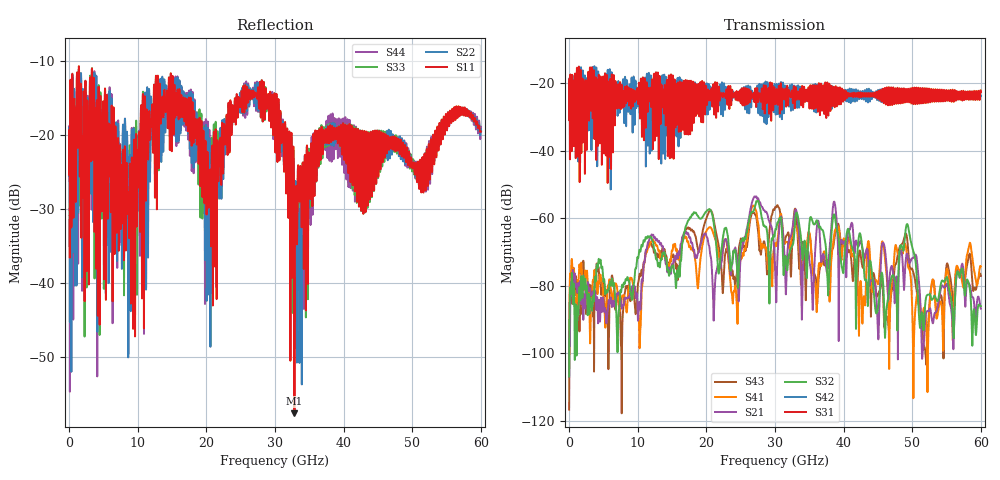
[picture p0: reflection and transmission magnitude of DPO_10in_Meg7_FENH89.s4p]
! Tyco Electronics Strada Whisper System
! FEXT_H89_G1112
!! SYSTEM DESCRIPTION: Daughtercard-Footprint-Connector-Footprint-Daughtercard
!! PCB DESCRIPTION: DC: 140mil, Megtron7N, upper layer route, 15mil stub, 6-6-6mil 10" traces
!! CONNECTOR DESCRIPTION: Next-Gen STRADA Whisper Direct-Plug Orthogonal Connector
!! MODEL DESCRIPTION: Tyco Electronics System 4-port S-parameter
!! MODEL STATUS: Developmental
!! MODEL GEOMETRY: Channel Model
!! MODEL FREQUENCY RANGE: DC to 60 GHz in 10 MHz frequency steps
!! MODEL EDGE RATE LIMITATION: 8.3 ps (Using conservative 0.5/Fmax rule of thumb)
!! TIME-DOMAIN TRANSFORM CAUTIONS:
!! 1.) Do not simulate transient edge rates faster than the number listed above.  Edge rates faster than this number
!!  contain significant spectral content at frequencies above the model's highest frequency.
!! 2.) Even when simulating edge rates that are slower than the number listed above, be aware that the best time
!!  resolution possible with a direct iFFT is (1 / 2Fmax).  As a result, time resolution is typically not adequate
!!  for most time-domain simulations unless tricks such as windowing are used to minimize leakage and aliasing.
!! 3.) Because the model has a uniform frequency step, a direct iFFT will result in an impulse that that has a time
!!  length given by either (1 / Fstep) or (1 / 2Fstep), depending on the transform being used.  Care has been taken
!!  in selecting the frequency step to ensure a settled impulse response for the model.  Therefore, convolution with
!!  the model's impulse response should present no issues.  However, if directly concatenating s-parameter models
!!  in the frequency domain a user must either interpolate necessary interim frequencies or complete impulse response
!!  zero-padding.  Impulse response zero-padding is more difficult, but more accurate.
!! PORT DEFINITIONS:
!! Port  1  ----->  TX Side	H8  G11  RX Side  <-----  Port  3
!! Port  2  ----->  TX Side	H9  G12  RX Side  <-----  Port  4
!!!!!!!!!!!!!!!!!!!!!!!!!!!!!!!!!!!!!!!!!!!!!!!!!!!!!!!!!!!!!!!!!!!!!!!!!!!!!!!!!!!!!!!!!!!!!!!!!!!!!!!!!!!!!!!!!!!!!!!!! Touchstone data
! Created: 10-Dec-2018 by IdEM R2012 (8.0.5)
# Hz S MA R 50
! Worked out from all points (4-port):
!   6000 points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, 10 MHz to 60 GHz, reference 50 ohm
!   strongest paths, dB at 10 MHz, 15.01 GHz, 30.01 GHz, 45.01 GHz, 60 GHz:
!     S31: -30.8, -24.1, -24.8, -23.5, -22.6
!     S42: -30.9, -23.0, -20.9, -22.0, -23.6
!     S32: -106.8, -74.3, -63.8, -86.7, -86.0
!     S21: -106.8, -73.7, -74.6, -94.3, -86.7
!     S41: -102.1, -69.6, -67.4, -79.5, -74.3
!     S43: -116.7, -71.3, -56.8, -82.6, -77.0
!   lowest |S11| = -57.5 dB at 32.84 GHz (marker M1), VSWR 1.00, Z = 50 - j0.133 ohm
!   |S11| at or under -10 dB: start of sweep to end of sweep
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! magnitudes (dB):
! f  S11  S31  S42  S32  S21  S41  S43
! 10 MHz  -25.4  -30.8  -30.9  -106.8  -106.8  -102.1  -116.7
! 32.84 GHz  -57.5  -25.0  -22.5  -63.3  -59.0  -61.3  -57.8
! 35.42 GHz  -27.5  -21.9  -25.6  -60.6  -82.6  -73.5  -72.9
! 36.09 GHz  -23.0  -20.6  -22.6  -60.5  -62.8  -87.6  -83.1
! 39.1 GHz  -20.4  -22.0  -24.7  -64.0  -64.6  -62.5  -61.8
! 42.36 GHz  -20.6  -23.3  -23.3  -64.4  -66.9  -81.2  -69.5
! 60 GHz  -19.6  -22.6  -23.6  -86.0  -86.7  -74.3  -77.0
